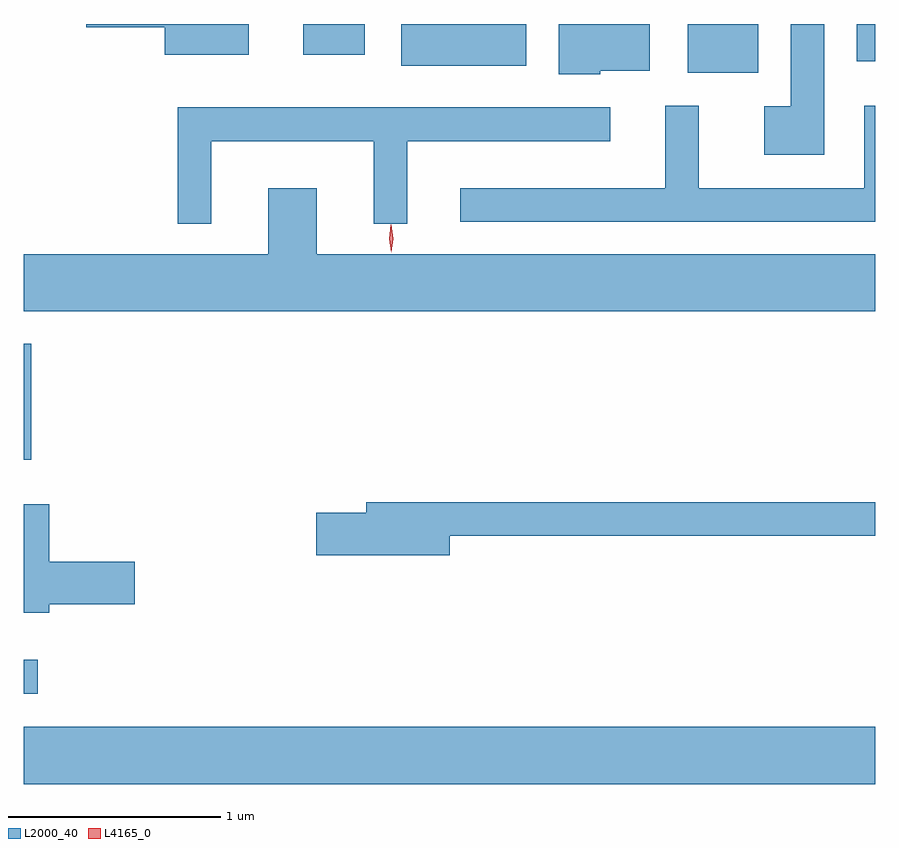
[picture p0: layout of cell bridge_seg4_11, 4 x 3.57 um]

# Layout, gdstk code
import gdstk
lib = gdstk.Library(unit=1e-6, precision=1e-09)
def R(c, l, rs):  # rectangles x0, y0, x1, y1
    for r in rs: c.add(gdstk.rectangle(r[:2], r[2:], *l))
def P(c, l, *ps):  # polygons
    for p in ps: c.add(gdstk.Polygon(p, *l))
L2000_40 = (2000, 40)
L4165_0 = (4165, 0)

bridge_seg4_11 = lib.new_cell('bridge_seg4_11')
R(bridge_seg4_11, L2000_40, [(1145.553,1263.656,1149.553,1263.924), (1145.553,1264.081,1145.618,1264.239), (1145.553,1265.178,1145.589,1265.724), (1148.671,1266.996,1149.004,1267.226), (1147.326,1267.031,1147.914,1267.226), (1149.466,1267.051,1149.553,1267.226), (1146.866,1267.081,1147.154,1267.226)])
P(bridge_seg4_11, L2000_40, [(1149.314,1267.226),(1149.156,1267.226),(1149.156,1266.839),(1149.031,1266.839),(1149.031,1266.611),(1149.314,1266.611)],
  [(1146.609,1267.226),(1145.846,1267.226),(1145.846,1267.211),(1146.216,1267.211),(1146.216,1267.081),(1146.609,1267.081)],
  [(1148.26,1267.006),(1148.494,1267.006),(1148.494,1267.226),(1148.066,1267.226),(1148.066,1266.991),(1148.26,1266.991)],
  [(1149.553,1266.843),(1149.501,1266.843),(1149.501,1266.454),(1148.724,1266.454),(1148.724,1266.843),(1148.566,1266.843),(1148.566,1266.454),(1147.603,1266.454),(1147.603,1266.296),(1149.553,1266.296)],
  [(1146.434,1266.676),(1147.196,1266.676),(1147.196,1266.288),(1147.354,1266.288),(1147.354,1266.676),(1148.308,1266.676),(1148.308,1266.834),(1146.276,1266.834),(1146.276,1266.288),(1146.434,1266.288)],
  [(1149.553,1266.144),(1146.929,1266.144),(1146.929,1266.454),(1146.701,1266.454),(1146.701,1266.144),(1145.553,1266.144),(1145.553,1265.876),(1149.553,1265.876)],
  [(1147.554,1264.821),(1149.553,1264.821),(1149.553,1264.979),(1147.161,1264.979),(1147.161,1264.929),(1146.926,1264.929),(1146.926,1264.731),(1147.554,1264.731)],
  [(1145.674,1264.501),(1146.074,1264.501),(1146.074,1264.699),(1145.674,1264.699),(1145.674,1264.969),(1145.553,1264.969),(1145.553,1264.461),(1145.674,1264.461)])
P(bridge_seg4_11, L4165_0, [(1147.279,1266.153),(1147.279,1266.154),(1147.269,1266.217),(1147.278,1266.282),(1147.279,1266.282),(1147.279,1266.282),(1147.289,1266.217),(1147.28,1266.154)])

lib.write_gds('bridge_seg4_11.gds')
